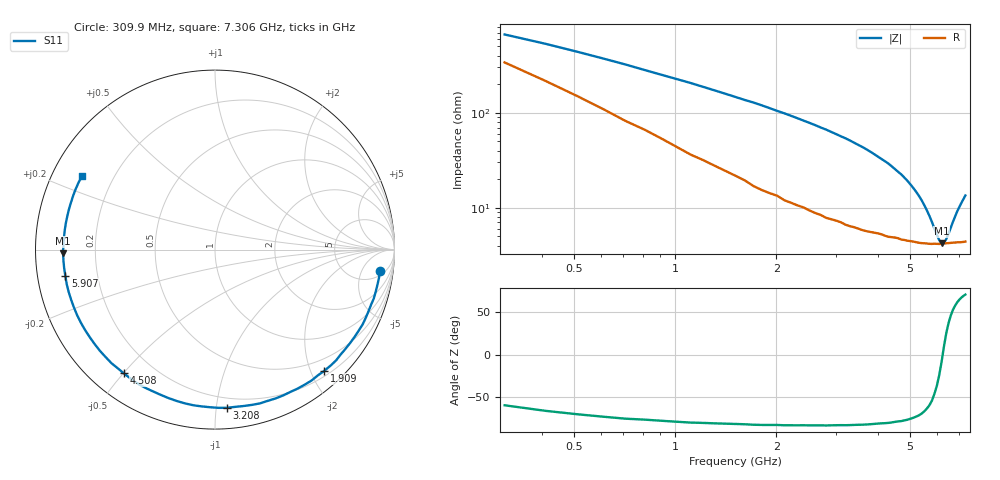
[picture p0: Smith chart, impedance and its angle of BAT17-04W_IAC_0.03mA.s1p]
! Infineon Technologies  Discrete & RF Semiconductors
! BAT17-04W
! IAC = 0.03 mA
! One-Port S-Parameters
# Hz  S  MA  R  50
!f  S11
!Hz  Mag  Ang
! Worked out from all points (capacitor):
!   71 points, 309.9 MHz to 7.306 GHz, reference 50 ohm
!   read as one part to ground: C = 794 fF near 309.9 MHz
!   lowest |Z| = 4.21 ohm at 6.207 GHz (marker M1)
!   series resonance near 6.252 GHz, so ESL is about 820 pH
!   S11 on the Smith chart (normalised r, x): 309.9 MHz: 7, -12; 1.909 GHz: 0.28, -2.22; 3.208 GHz: 0.13, -1.07; 4.508 GHz: 0.10, -0.50; 5.907 GHz: 0.08, -0.09; 7.306 GHz: 0.09, +0.25
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3.0985e8  0.9271 -7.4
7.0965e8  0.9257 -17.1
1.10945e9  0.9222 -26.9
1.2094e9  0.919 -29.5
1.70915e9  0.9144 -42.4
1.90905e9  0.9093 -47.9
2.10895e9  0.9064 -53.5
2.30885e9  0.9009 -59.2
2.6087e9  0.8953 -67.9
2.8086e9  0.8927 -73.7
3.0085e9  0.8858 -79.8
3.2084e9  0.884 -85.6
3.6082e9  0.8756 -97.9
3.8081e9  0.8698 -104.4
4.10795e9  0.8621 -114.0
4.30785e9  0.862 -119.8
4.50775e9  0.8563 -126.4
4.70765e9  0.8563 -132.3
5.0075e9  0.8523 -142.0
5.2074e9  0.8512 -148.2
5.4073e9  0.8507 -154.4
5.6072e9  0.8488 -160.7
5.90705e9  0.8468 -170.0
6.2069e9  0.8463 -178.6
6.50675e9  0.8442 172.6
6.8066e9  0.8442 164.4
7.0065e9  0.8455 159.1
7.30635e9  0.8471 151.2
